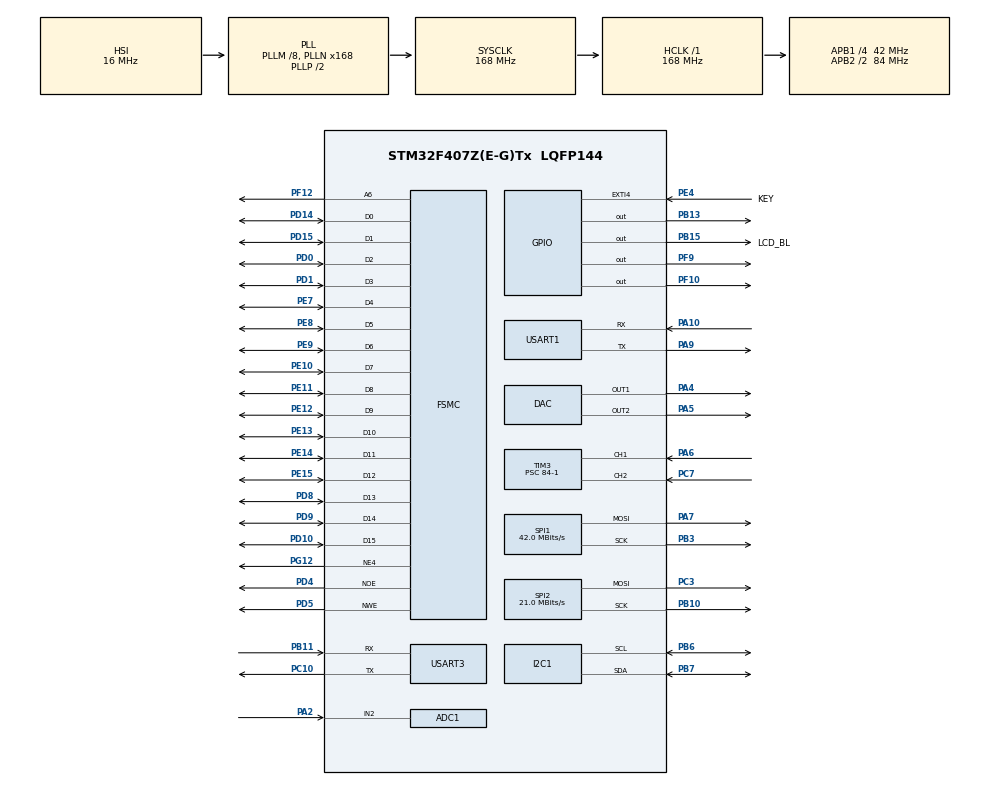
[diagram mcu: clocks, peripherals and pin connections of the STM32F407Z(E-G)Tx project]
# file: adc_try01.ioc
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ADC1.Channel-2\#ChannelRegularConversion=ADC_CHANNEL_2
ADC1.ContinuousConvMode=DISABLE
ADC1.DMAContinuousRequests=ENABLE
ADC1.ExternalTrigConv=ADC_EXTERNALTRIGCONV_T2_TRGO
ADC1.NbrOfConversionFlag=1
ADC1.Rank-2\#ChannelRegularConversion=1
ADC1.SamplingTime-2\#ChannelRegularConversion=ADC_SAMPLETIME_3CYCLES
ADC1.ScanConvMode=DISABLE
ADC1.master=1
DAC.DAC_OutputBuffer=DAC_OUTPUTBUFFER_DISABLE
DAC.DAC_Trigger=DAC_TRIGGER_T5_TRGO
Dma.ADC1.0.Direction=DMA_PERIPH_TO_MEMORY
Dma.ADC1.0.FIFOMode=DMA_FIFOMODE_DISABLE
Dma.ADC1.0.Instance=DMA2_Stream0
Dma.ADC1.0.MemDataAlignment=DMA_MDATAALIGN_HALFWORD
Dma.ADC1.0.MemInc=DMA_MINC_ENABLE
Dma.ADC1.0.Mode=DMA_NORMAL
Dma.ADC1.0.PeriphDataAlignment=DMA_PDATAALIGN_HALFWORD
Dma.ADC1.0.PeriphInc=DMA_PINC_DISABLE
Dma.ADC1.0.Priority=DMA_PRIORITY_VERY_HIGH
Dma.DAC1.3.Direction=DMA_MEMORY_TO_PERIPH
Dma.DAC1.3.FIFOMode=DMA_FIFOMODE_DISABLE
Dma.DAC1.3.Instance=DMA1_Stream5
Dma.DAC1.3.MemDataAlignment=DMA_MDATAALIGN_HALFWORD
Dma.DAC1.3.MemInc=DMA_MINC_ENABLE
Dma.DAC1.3.Mode=DMA_NORMAL
Dma.DAC1.3.PeriphDataAlignment=DMA_PDATAALIGN_HALFWORD
Dma.DAC1.3.PeriphInc=DMA_PINC_DISABLE
Dma.DAC1.3.Priority=DMA_PRIORITY_LOW
Dma.Request0=ADC1
Dma.Request1=SPI2_TX
Dma.Request2=SPI1_TX
Dma.Request3=DAC1
Dma.Request4=USART3_TX
Dma.SPI1_TX.2.Direction=DMA_MEMORY_TO_PERIPH
Dma.SPI1_TX.2.FIFOMode=DMA_FIFOMODE_DISABLE
Dma.SPI1_TX.2.Instance=DMA2_Stream3
Dma.SPI1_TX.2.MemDataAlignment=DMA_MDATAALIGN_BYTE
Dma.SPI1_TX.2.MemInc=DMA_MINC_ENABLE
Dma.SPI1_TX.2.Mode=DMA_NORMAL
Dma.SPI1_TX.2.PeriphDataAlignment=DMA_PDATAALIGN_BYTE
Dma.SPI1_TX.2.PeriphInc=DMA_PINC_DISABLE
Dma.SPI1_TX.2.Priority=DMA_PRIORITY_LOW
Dma.SPI2_TX.1.Direction=DMA_MEMORY_TO_PERIPH
Dma.SPI2_TX.1.FIFOMode=DMA_FIFOMODE_DISABLE
Dma.SPI2_TX.1.Instance=DMA1_Stream4
Dma.SPI2_TX.1.MemDataAlignment=DMA_MDATAALIGN_BYTE
Dma.SPI2_TX.1.MemInc=DMA_MINC_ENABLE
Dma.SPI2_TX.1.Mode=DMA_NORMAL
Dma.SPI2_TX.1.PeriphDataAlignment=DMA_PDATAALIGN_BYTE
Dma.SPI2_TX.1.PeriphInc=DMA_PINC_DISABLE
Dma.SPI2_TX.1.Priority=DMA_PRIORITY_LOW
Dma.USART3_TX.4.Direction=DMA_MEMORY_TO_PERIPH
Dma.USART3_TX.4.FIFOMode=DMA_FIFOMODE_DISABLE
Dma.USART3_TX.4.Instance=DMA1_Stream3
Dma.USART3_TX.4.MemDataAlignment=DMA_MDATAALIGN_BYTE
Dma.USART3_TX.4.MemInc=DMA_MINC_ENABLE
Dma.USART3_TX.4.Mode=DMA_NORMAL
Dma.USART3_TX.4.PeriphDataAlignment=DMA_PDATAALIGN_BYTE
Dma.USART3_TX.4.PeriphInc=DMA_PINC_DISABLE
Dma.USART3_TX.4.Priority=DMA_PRIORITY_VERY_HIGH
FSMC.AddressSetupTime1=0x0F
FSMC.BusTurnAroundDuration1=0
FSMC.DataSetupTime1=60
FSMC.ExtendedAddressSetupTime1=9
FSMC.ExtendedBusTurnAroundDuration1=0
FSMC.ExtendedDataSetupTime1=9
FSMC.ExtendedMode1=FSMC_EXTENDED_MODE_ENABLE
Mcu.Family=STM32F4
Mcu.Name=STM32F407Z(E-G)Tx
Mcu.Package=LQFP144
NVIC.ADC_IRQn=true\:2\:0\:true\:false\:true\:true\:true\:true
NVIC.DMA1_Stream3_IRQn=true\:0\:0\:false\:false\:true\:false\:true\:true
NVIC.DMA1_Stream4_IRQn=true\:0\:0\:false\:false\:true\:false\:true\:true
NVIC.DMA1_Stream5_IRQn=true\:0\:0\:false\:false\:true\:false\:true\:true
NVIC.DMA2_Stream0_IRQn=true\:0\:0\:false\:false\:true\:false\:true\:true
NVIC.DMA2_Stream3_IRQn=true\:0\:0\:false\:false\:true\:false\:true\:true
NVIC.EXTI4_IRQn=true\:0\:0\:false\:false\:true\:true\:true\:true
NVIC.PriorityGroup=NVIC_PRIORITYGROUP_4
NVIC.TIM3_IRQn=true\:0\:0\:false\:false\:true\:true\:true\:true
NVIC.TIM4_IRQn=true\:0\:0\:false\:false\:true\:true\:true\:true
NVIC.TIM6_DAC_IRQn=true\:0\:0\:false\:false\:true\:true\:true\:true
PA10.Mode=Asynchronous
PA10.Signal=USART1_RX
PA13.Mode=Serial_Wire
PA13.Signal=SYS_JTMS-SWDIO
PA14.Mode=Serial_Wire
PA14.Signal=SYS_JTCK-SWCLK
PA2.Signal=ADCx_IN2
PA4.Signal=COMP_DAC1_group
PA5.Signal=COMP_DAC2_group
PA6.Signal=S_TIM3_CH1
PA7.Mode=TX_Only_Simplex_Unidirect_Master
PA7.Signal=SPI1_MOSI
PA9.Mode=Asynchronous
PA9.Signal=USART1_TX
PB10.Mode=TX_Only_Simplex_Unidirect_Master
PB10.Signal=SPI2_SCK
PB11.Mode=Asynchronous
PB11.Signal=USART3_RX
PB13.Signal=GPIO_Output
PB15.GPIO_Label=LCD_BL
PB15.Signal=GPIO_Output
PB3.Mode=TX_Only_Simplex_Unidirect_Master
PB3.Signal=SPI1_SCK
PB6.Mode=I2C
PB6.Signal=I2C1_SCL
PB7.Mode=I2C
PB7.Signal=I2C1_SDA
PC10.Mode=Asynchronous
PC10.Signal=USART3_TX
PC14-OSC32_IN.Mode=LSE-External-Oscillator
PC14-OSC32_IN.Signal=RCC_OSC32_IN
PC15-OSC32_OUT.Mode=LSE-External-Oscillator
PC15-OSC32_OUT.Signal=RCC_OSC32_OUT
PC3.Mode=TX_Only_Simplex_Unidirect_Master
PC3.Signal=SPI2_MOSI
PC7.Signal=S_TIM3_CH2
PD0.Signal=FSMC_D2_DA2
PD1.Signal=FSMC_D3_DA3
PD10.Signal=FSMC_D15_DA15
PD14.Signal=FSMC_D0_DA0
PD15.Signal=FSMC_D1_DA1
PD4.Signal=FSMC_NOE
PD5.Signal=FSMC_NWE
PD8.Signal=FSMC_D13_DA13
PD9.Signal=FSMC_D14_DA14
PE10.Signal=FSMC_D7_DA7
PE11.Signal=FSMC_D8_DA8
PE12.Signal=FSMC_D9_DA9
PE13.Signal=FSMC_D10_DA10
PE14.Signal=FSMC_D11_DA11
PE15.Signal=FSMC_D12_DA12
PE4.GPIO_Label=KEY
PE4.GPIO_ModeDefaultEXTI=GPIO_MODE_IT_FALLING
PE4.GPIO_PuPd=GPIO_PULLUP
PE4.Signal=GPXTI4
PE7.Signal=FSMC_D4_DA4
PE8.Signal=FSMC_D5_DA5
PE9.Signal=FSMC_D6_DA6
PF10.Signal=GPIO_Output
PF12.Signal=FSMC_A6
PF9.Signal=GPIO_Output
PG12.Mode=NorPsramChipSelect4_1
PG12.Signal=FSMC_NE4
PH0-OSC_IN.Mode=HSE-External-Oscillator
PH0-OSC_IN.Signal=RCC_OSC_IN
PH1-OSC_OUT.Mode=HSE-External-Oscillator
PH1-OSC_OUT.Signal=RCC_OSC_OUT
ProjectManager.HeapSize=0x200
ProjectManager.StackSize=0x400
ProjectManager.TargetToolchain=MDK-ARM V5
RCC.48MHZClocksFreq_Value=84000000
RCC.AHBFreq_Value=168000000
RCC.APB1CLKDivider=RCC_HCLK_DIV4
RCC.APB1Freq_Value=42000000
RCC.APB1TimFreq_Value=84000000
RCC.APB2CLKDivider=RCC_HCLK_DIV2
RCC.APB2Freq_Value=84000000
RCC.APB2TimFreq_Value=168000000
RCC.CortexFreq_Value=168000000
RCC.HCLKFreq_Value=168000000
RCC.HSE_VALUE=25000000
RCC.HSI_VALUE=16000000
RCC.PLLM=8
RCC.PLLN=168
RCC.SYSCLKFreq_VALUE=168000000
RCC.SYSCLKSource=RCC_SYSCLKSOURCE_PLLCLK
RCC.VCOOutputFreq_Value=336000000
SH.ADCx_IN2.0=ADC1_IN2,IN2
SH.COMP_DAC1_group.0=DAC_OUT1,DAC_OUT1
SH.COMP_DAC2_group.0=DAC_OUT2,DAC_OUT2
SH.FSMC_A6.0=FSMC_A6,A6_1
SH.FSMC_D0_DA0.0=FSMC_D0,16b-d1
SH.FSMC_D10_DA10.0=FSMC_D10,16b-d1
SH.FSMC_D11_DA11.0=FSMC_D11,16b-d1
SH.FSMC_D12_DA12.0=FSMC_D12,16b-d1
SH.FSMC_D13_DA13.0=FSMC_D13,16b-d1
SH.FSMC_D14_DA14.0=FSMC_D14,16b-d1
SH.FSMC_D15_DA15.0=FSMC_D15,16b-d1
SH.FSMC_D1_DA1.0=FSMC_D1,16b-d1
SH.FSMC_D2_DA2.0=FSMC_D2,16b-d1
SH.FSMC_D3_DA3.0=FSMC_D3,16b-d1
SH.FSMC_D4_DA4.0=FSMC_D4,16b-d1
SH.FSMC_D5_DA5.0=FSMC_D5,16b-d1
SH.FSMC_D6_DA6.0=FSMC_D6,16b-d1
SH.FSMC_D7_DA7.0=FSMC_D7,16b-d1
SH.FSMC_D8_DA8.0=FSMC_D8,16b-d1
SH.FSMC_D9_DA9.0=FSMC_D9,16b-d1
SH.FSMC_NOE.0=FSMC_NOE,Lcd1
SH.FSMC_NWE.0=FSMC_NWE,Lcd1
SH.S_TIM3_CH1.0=TIM3_CH1,TriggerSource_TI1FP1
SH.S_TIM3_CH1.1=TIM3_CH1,Input_Capture1_from_TI1
SH.S_TIM3_CH2.0=TIM3_CH2,Input_Capture2_from_TI2
SPI1.CalculateBaudRate=42.0 MBits/s
SPI1.Direction=SPI_DIRECTION_2LINES
SPI1.Mode=SPI_MODE_MASTER
SPI1.VirtualType=VM_MASTER
SPI2.CalculateBaudRate=21.0 MBits/s
SPI2.Direction=SPI_DIRECTION_2LINES
SPI2.Mode=SPI_MODE_MASTER
SPI2.VirtualType=VM_MASTER
STMicroelectronics.X-CUBE-ALGOBUILD.1.4.0.LibraryCcDSPOoLibraryJjDSPOoLibrary=true
TIM2.AutoReloadPreload=TIM_AUTORELOAD_PRELOAD_ENABLE
TIM2.Channel-PWM\ Generation2\ No\ Output=TIM_CHANNEL_2
TIM2.Period=4-1
TIM2.Prescaler=41-1
TIM2.Pulse-PWM\ Generation2\ No\ Output=2-1
TIM2.TIM_MasterOutputTrigger=TIM_TRGO_OC2REF
TIM2.TIM_MasterSlaveMode=TIM_MASTERSLAVEMODE_DISABLE
TIM3.AutoReloadPreload=TIM_AUTORELOAD_PRELOAD_ENABLE
TIM3.Channel-Input_Capture1_from_TI1=TIM_CHANNEL_1
TIM3.Channel-Input_Capture2_from_TI2=TIM_CHANNEL_2
TIM3.ICPolarity_CH2=TIM_INPUTCHANNELPOLARITY_FALLING
TIM3.Period=20000-1
TIM3.Prescaler=84-1
TIM3.TIM_MasterOutputTrigger=TIM_TRGO_RESET
TIM4.AutoReloadPreload=TIM_AUTORELOAD_PRELOAD_ENABLE
TIM4.Period=1000-1
TIM4.Prescaler=83-1
TIM5.AutoReloadPreload=TIM_AUTORELOAD_PRELOAD_ENABLE
TIM5.Period=84-1
TIM5.TIM_MasterOutputTrigger=TIM_TRGO_UPDATE
TIM6.Period=2399
TIM6.Prescaler=199
USART1.VirtualMode=VM_ASYNC
USART3.VirtualMode=VM_ASYNC
VP_STMicroelectronics.X-CUBE-ALGOBUILD_VS_DSPOoLibraryJjLibrary_1.4.0_1.4.0.Mode=DSPOoLibraryJjLibrary
VP_TIM2_VS_ClockSourceINT.Mode=Internal
VP_TIM2_VS_no_output2.Mode=PWM Generation2 No Output
VP_TIM3_VS_ClockSourceINT.Mode=Internal
VP_TIM3_VS_ControllerModeReset.Mode=Reset Mode
VP_TIM4_VS_ClockSourceINT.Mode=Internal
VP_TIM5_VS_ClockSourceINT.Mode=Internal
VP_TIM6_VS_ClockSourceINT.Mode=Enable_Timer
board=custom

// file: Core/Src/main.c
/* USER CODE BEGIN Header */
/**
  ******************************************************************************
  * @file           : main.c
  * @brief          : Main program body
  ******************************************************************************
  * @attention
  *
  * Copyright (c) 2024 STMicroelectronics.
  * All rights reserved.
  *
  * This software is licensed under terms that can be found in the LICENSE file
  * in the root directory of this software component.
  * If no LICENSE file comes with this software, it is provided AS-IS.
  *
  ******************************************************************************
  */
/* USER CODE END Header */
#include "main.h"
#include "adc.h"
#include "dac.h"
#include "dma.h"
#include "i2c.h"
#include "spi.h"
#include "tim.h"
#include "usart.h"
#include "gpio.h"
#include "fsmc.h"

/* USER CODE BEGIN Includes */
#include "stdio.h"
#include "lcd.h"
#include "arm_math.h"
#include "arm_const_structs.h"
#include "LCD_Show.h"
#include "fft_handle.h"
/* USER CODE END Includes */

/* USER CODE BEGIN PD */
#define FFT_LENGTH 4096										//采样点个数

/* USER CODE END PD */

/* USER CODE BEGIN PV */
uint16_t i = 0;
uint16_t j = 0;
uint16_t DrawingTime_cnt = 0;
uint16_t PWMCheck_cnt = 0;
uint16_t adcBuff[FFT_LENGTH];							//adc采样数组
float adcVolt[FFT_LENGTH];								//adc转换后的真实电压数组
__IO uint8_t AdcConvEnd = 0;							//adc采集完成标志
uint32_t f_sa = 512000;										//基础采样频率为512K
float fft_frequency = 0;
float fft_frequency2=0;   //FFT测出最大基波频率、次大基波频率
extern float fft_outputbuf[FFT_LENGTH];  				//fft计算后数组
extern float bizhi1[10];

/* USER CODE END PV */

void SystemClock_Config(void);

/* USER CODE BEGIN 0 */

float PWM_RisingCount;
float PWM_FallingCount;
float duty;
char P_buff[30];
float PWM_frequency = 0;
int OUT_mode=1;

void PWM_Input_Capture(void)
{
//		printf("PWM_Frequency = %.4f \r\n",1000000/PWM_RisingCount);			//数据测试
//		printf("PWM_RisingCount = %.2f %% \r\n",PWM_RisingCount);
//		printf("PWM_FallingCount = %.2f %% \r\n",PWM_FallingCount);
//	  printf("PWM_Duty = %.2f %% \r\n",duty * 100);
		PWMCheck_cnt++;
		if (PWMCheck_cnt==10)
		{
//			lcd_show_string(405,160,80,16,16,"PWM_F(Hz):",YELLOW);
//			sprintf(P_buff,"%0.3fHz",1000000/PWM_RisingCount);									//PWM测频率
//			lcd_show_string(405,180,130,16,16,P_buff,WHITE);
//			lcd_show_string(405,120,80,16,16,"Duty:",YELLOW);
//			sprintf(P_buff,"%.2f %%",duty * 100);																//PWM测占空比
//			lcd_show_string(405,140,80,16,16,P_buff,WHITE);
			PWMCheck_cnt = 0;
		}

}

//按键中断回调

void HAL_GPIO_EXTI_Callback(uint16_t GPIO_Pin)
{
     if(GPIO_Pin==GPIO_PIN_4)  //PE4 按键
     {
         HAL_TIM_Base_Start_IT(&htim6);
//			HAL_GPIO_TogglePin(GPIOF,GPIO_PIN_9);
//			HAL_GPIO_TogglePin(GPIOF,GPIO_PIN_10);
     }

}

void HAL_TIM_PeriodElapsedCallback(TIM_HandleTypeDef *htim)
{
  if(htim==(&htim6))
  {
       HAL_TIM_Base_Stop_IT(&htim6);
       if(HAL_GPIO_ReadPin(KEY_GPIO_Port,KEY_Pin)==0)
	   {
		   OUT_mode=-OUT_mode;
			HAL_GPIO_TogglePin(GPIOF,GPIO_PIN_9);
			HAL_GPIO_TogglePin(GPIOF,GPIO_PIN_10);
	   }
  }

}

/* USER CODE END 0 */

int main(void)
{

  /* MCU Configuration--------------------------------------------------------*/

  /* Reset of all peripherals, Initializes the Flash interface and the Systick. */
  HAL_Init();

  /* Configure the system clock */
  SystemClock_Config();

  /* Initialize all configured peripherals */
  MX_GPIO_Init();
  MX_DMA_Init();
  MX_ADC1_Init();
  MX_USART1_UART_Init();
  MX_TIM3_Init();
  MX_TIM2_Init();
  MX_FSMC_Init();
  MX_SPI1_Init();
  MX_SPI2_Init();
  MX_DAC_Init();
  MX_I2C1_Init();
  MX_TIM4_Init();
  MX_TIM5_Init();
  MX_USART3_UART_Init();
  MX_TIM6_Init();
  /* USER CODE BEGIN 2 */
	lcd_init();
	lcd_display_dir(1);
	HAL_TIM_Base_Start(&htim2);
  //HAL_TIM_PWM_Start(&htim2, TIM_CHANNEL_2);
	HAL_TIM_Base_Start(&htim3);//启动定时器3
	HAL_TIM_IC_Start_IT(&htim3,TIM_CHANNEL_1);							//定时器3通道1——上升沿捕获
	HAL_TIM_IC_Start_IT(&htim3,TIM_CHANNEL_2);							//定时器3通道2——下降沿捕获
	Set_BackGround();	        //显示背景
//	Lcd_DrawNetwork();
	Draw_Prompt();				//画提示符

	HAL_ADC_Start_DMA(&hadc1,(uint32_t*)adcBuff,FFT_LENGTH);//启动ADC的DMA传输

	lcd_show_string(10,200,100,16,32,"Tips:",YELLOW);
	lcd_show_string(10,250,100,16,32,"SIN:0",YELLOW);
	lcd_show_string(10,300,150,16,32,"SANJIAO:1",YELLOW);

	HAL_GPIO_WritePin(GPIOF,GPIO_PIN_9,GPIO_PIN_RESET);   //模式指示，初始输出A波
	HAL_GPIO_WritePin(GPIOF,GPIO_PIN_10,GPIO_PIN_SET);

	//uint8_t pData[100]="123456";
	//pData[0]="@";

	 //HAL_UART_Transmit(&huart3,(uint8_t*)pData_C,30,0xFFFF);
  /* USER CODE END 2 */

  /* Infinite loop */
  /* USER CODE BEGIN WHILE */
  while (1)
  {

	  while (!AdcConvEnd);                                   //等待转换完毕
		for (j = 0; j < FFT_LENGTH; j++)										//输出adc模拟采样值
		{
			adcVolt[j] = adcBuff[j] * 3.3 / 4095;							// adcBuff[j]* 3.3 / 4096是为了将ADC采集到的值转换成实际电压

			//printf("adcBuff[%d]:%.3f\n",j,adcVolt[j]*1000); 			//数据打印，查看结果
		}
		ADCvolt_ANA();

		fftCalculate();
		DrawingTime_cnt++;           //一定周期向PID单片机发送频率波形信息
		if (DrawingTime_cnt==5)
		{
			DrawingTime_cnt = 0;
			//DrawOscillogram();
			//制作pData数组 来自FREa,PREb

			//printf("%s\n",pData_C);
			//HAL_UART_Transmit_DMA(&huart3,(uint8_t*)pData_C,30);

		}
		//printf("%s\n",pData_C);
		//printf("%c%c%c%c%c%c%c%c",pData_C[0],pData_C[1],pData_C[2],pData_C[3],pData_C[4],pData_C[5],pData_C[6],pData_C[7]);
		HAL_ADC_Start_DMA(&hadc1,(uint32_t*)adcBuff,FFT_LENGTH);//启动ADC的DMA传输
    /* USER CODE END WHILE */

  }
}

void SystemClock_Config(void)
{
  RCC_OscInitTypeDef RCC_OscInitStruct = {0};
  RCC_ClkInitTypeDef RCC_ClkInitStruct = {0};

  /** Configure the main internal regulator output voltage
  */
  __HAL_RCC_PWR_CLK_ENABLE();
  __HAL_PWR_VOLTAGESCALING_CONFIG(PWR_REGULATOR_VOLTAGE_SCALE1);

  /** Initializes the RCC Oscillators according to the specified parameters
  * in the RCC_OscInitTypeDef structure.
  */
  RCC_OscInitStruct.OscillatorType = RCC_OSCILLATORTYPE_HSI;
  RCC_OscInitStruct.HSIState = RCC_HSI_ON;
  RCC_OscInitStruct.HSICalibrationValue = RCC_HSICALIBRATION_DEFAULT;
  RCC_OscInitStruct.PLL.PLLState = RCC_PLL_ON;
  RCC_OscInitStruct.PLL.PLLSource = RCC_PLLSOURCE_HSI;
  RCC_OscInitStruct.PLL.PLLM = 8;
  RCC_OscInitStruct.PLL.PLLN = 168;
  RCC_OscInitStruct.PLL.PLLP = RCC_PLLP_DIV2;
  RCC_OscInitStruct.PLL.PLLQ = 4;
  if (HAL_RCC_OscConfig(&RCC_OscInitStruct) != HAL_OK)
  {
    Error_Handler();
  }

  /** Initializes the CPU, AHB and APB buses clocks
  */
  RCC_ClkInitStruct.ClockType = RCC_CLOCKTYPE_HCLK|RCC_CLOCKTYPE_SYSCLK
                              |RCC_CLOCKTYPE_PCLK1|RCC_CLOCKTYPE_PCLK2;
  RCC_ClkInitStruct.SYSCLKSource = RCC_SYSCLKSOURCE_PLLCLK;
  RCC_ClkInitStruct.AHBCLKDivider = RCC_SYSCLK_DIV1;
  RCC_ClkInitStruct.APB1CLKDivider = RCC_HCLK_DIV4;
  RCC_ClkInitStruct.APB2CLKDivider = RCC_HCLK_DIV2;

  if (HAL_RCC_ClockConfig(&RCC_ClkInitStruct, FLASH_LATENCY_5) != HAL_OK)
  {
    Error_Handler();
  }
}

/* USER CODE BEGIN 4 */

void HAL_TIM_IC_CaptureCallback(TIM_HandleTypeDef *htim)
{
	if(htim->Channel == HAL_TIM_ACTIVE_CHANNEL_1)
    //注意这里为HAL_TIM_ACTIVE_CHANNEL_1而不是TIM_CHANNEL_1
	{
		PWM_RisingCount = HAL_TIM_ReadCapturedValue(&htim3,TIM_CHANNEL_1);
		duty =	PWM_FallingCount / PWM_RisingCount;
	}
	if(htim->Channel == HAL_TIM_ACTIVE_CHANNEL_2)
	{
		PWM_FallingCount = HAL_TIM_ReadCapturedValue(&htim3,TIM_CHANNEL_2);
	}
	PWM_Input_Capture();
}

//void HAL_ADC_ConvCpltCallback(ADC_HandleTypeDef* hadc)
//{
//    if(hadc==&hadc1 && i < FFT_LENGTH)
//    {
//				adcBuff[i] =HAL_ADC_GetValue(&hadc1);				//采样存入adcBuff[FFT_LENGTH]
//        i++;
//		}
//		else
//		{
//			AdcConvEnd=1;																	//采样完成，标志置1，开始fft计算
//			i = 0;
//		}
//
//}
/* USER CODE END 4 */

void Error_Handler(void)
{
  __disable_irq();
  while (1)
  {
  }
}
